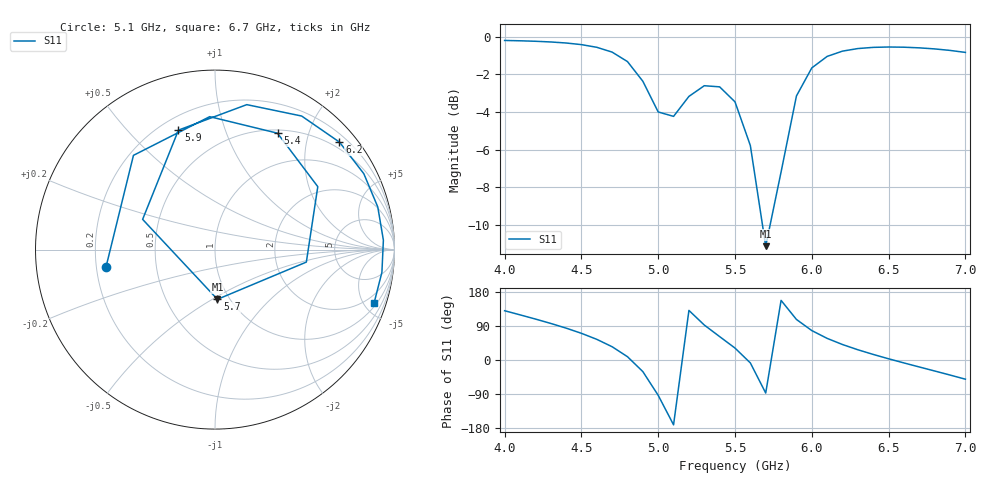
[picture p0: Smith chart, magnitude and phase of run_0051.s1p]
! Touchstone file exported from HFSS 2024.2.0
!  File:  C:/Users/wsak9/Desktop/Sim Fast/Widenad Patch/WP_AI_V1_sweep.aedt
!  Generated:  05:01:49 PM Oct 13, 2026
!  Design:  A1_model
!  Project:  WP_AI_V1_sweep
!  Setup:  Setup1
!  Solution:  Sweep
! Variables:
!  Air_gap = 1.96mm
!  Curve_Amp1 = 2.43
!  Curve_len1 = 1
!  Curve_pos = 10.725mm
!  Extra = 3.08mm
!  H_sub = 0.79mm
!  L_Patch = 17.45mm
!  L_Patch1 = 11.38mm
!  Sx = 3.32mm
!  Sy = 4.36mm
!  WS = 0.24mm
!  W_Patch = 10.22mm
!  W_Patch1 = 8.3mm
!Data is not renormalized
# GHz S MA
! Terminal data exported
! Port[1] = 1
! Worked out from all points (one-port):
!   31 points, 4 GHz to 7 GHz, reference per port
!   lowest |S11| = -11.1 dB at 5.7 GHz (marker M1), VSWR 1.77
!   |S11| at or under -10 dB: 5.679 GHz to 5.729 GHz (50.05 MHz wide, 0.877 % of centre)
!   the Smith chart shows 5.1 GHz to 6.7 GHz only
!   S11 on the Smith chart (normalised r, x): 5.1 GHz: 0.24, -0.07; 5.4 GHz: 0.54, +1.53; 5.7 GHz: 0.88, -0.53; 5.9 GHz: 0.27, +0.70; 6.2 GHz: 0.35, +2.65; 6.7 GHz: 1.26, -5.90
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4  0.9781 130.0
4.2  0.9733 108.1
4.3  0.9691 96.6
4.4  0.963 84.2
4.5  0.9535 70.4
4.6  0.938 54.6
4.7  0.9107 35.0
4.8  0.8593 8.7
4.9  0.7619 -30.7
5  0.6312 -93.2
5.1  0.6144 -171.1
5.2  0.6943 130.9
5.3  0.7413 92.3
5.4  0.7361 61.8
5.5  0.6715 31.5
5.6  0.5137 -7.8
5.7  0.2774 -87.2
5.8  0.437 157.3
5.9  0.6961 107.0
6  0.8268 77.6
6.1  0.8871 57.0
6.2  0.9162 40.8
6.3  0.9308 27.0
6.4  0.9375 14.7
6.5  0.9396 3.2
6.7  0.9348 -18.4
6.8  0.9287 -29.0
7  0.9091 -50.6
